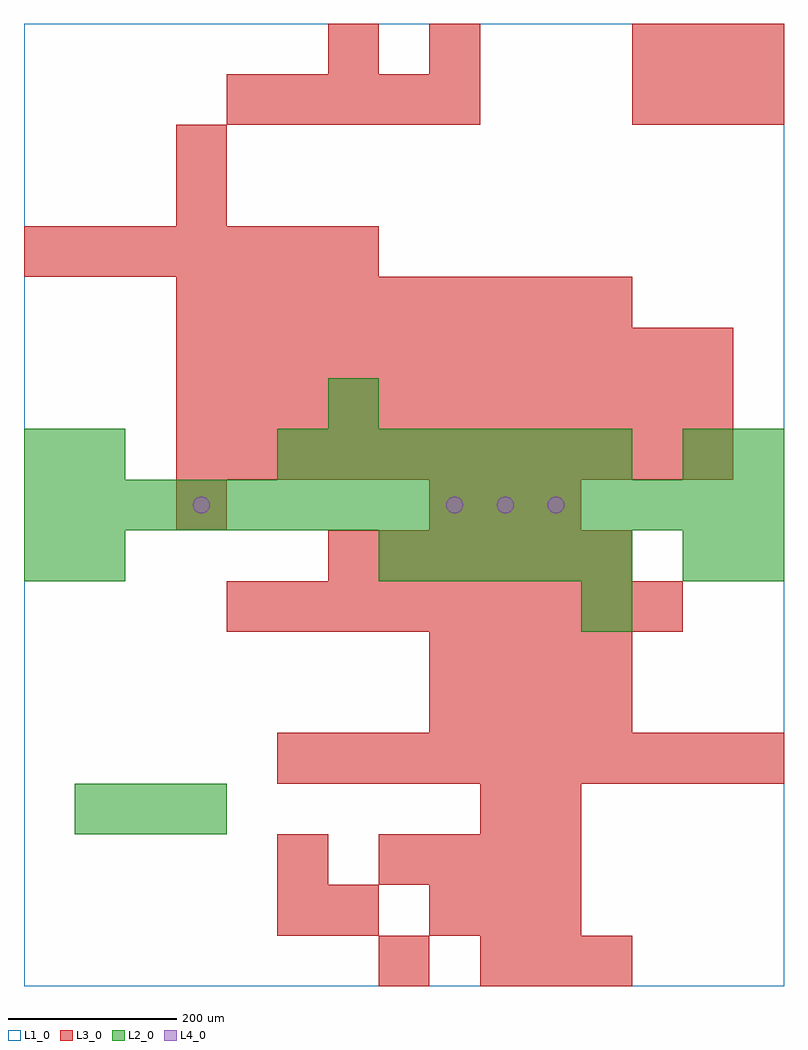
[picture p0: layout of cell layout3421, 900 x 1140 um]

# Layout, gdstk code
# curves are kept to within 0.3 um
import gdstk
lib = gdstk.Library(unit=1e-6, precision=1e-09)
def R(c, l, rs):  # rectangles x0, y0, x1, y1
    for r in rs: c.add(gdstk.rectangle(r[:2], r[2:], *l))
def A(c, l, x, y, w, h, nx, ny, dx, dy):  # array of equal rectangles
    R(c, l, [(x+i*dx, y+j*dy, x+i*dx+w, y+j*dy+h) for i in range(nx) for j in range(ny)])
def P(c, l, *ps):  # polygons
    for p in ps: c.add(gdstk.Polygon(p, *l))
L1_0 = (1, 0)
L2_0 = (2, 0)
L3_0 = (3, 0)
L4_0 = (4, 0)

layout3421 = lib.new_cell('layout3421')
R(layout3421, L1_0, [(0,0,900,1140)])
A(layout3421, L2_0, 60, 180, 60, 60, 3, 1, 60, 0)
A(layout3421, L2_0, 420, 480, 60, 60, 5, 1, 60, 0)
A(layout3421, L2_0, 0, 540, 60, 60, 15, 1, 60, 0)
A(layout3421, L2_0, 300, 600, 60, 60, 7, 1, 60, 0)
R(layout3421, L2_0, [(660,420,720,480), (0,480,60,540), (60,480,120,540), (780,480,840,540), (840,480,900,540), (0,600,60,660), (60,600,120,660), (780,600,840,660), (840,600,900,660), (360,660,420,720)])
A(layout3421, L3_0, 540, 0, 60, 60, 3, 1, 60, 0)
A(layout3421, L3_0, 480, 60, 60, 60, 3, 2, 60, 480)
A(layout3421, L3_0, 420, 120, 60, 60, 4, 1, 60, 0)
A(layout3421, L3_0, 300, 240, 60, 60, 10, 1, 60, 0)
A(layout3421, L3_0, 480, 300, 60, 60, 4, 2, 60, 60)
A(layout3421, L3_0, 240, 420, 60, 60, 9, 1, 60, 0)
A(layout3421, L3_0, 360, 480, 60, 60, 6, 1, 60, 0)
A(layout3421, L3_0, 180, 600, 60, 60, 11, 3, 60, 60)
A(layout3421, L3_0, 180, 780, 60, 60, 9, 1, 60, 0)
A(layout3421, L3_0, 0, 840, 60, 60, 7, 1, 60, 0)
A(layout3421, L3_0, 240, 1020, 60, 60, 5, 1, 60, 0)
A(layout3421, L3_0, 720, 1020, 60, 60, 3, 2, 60, 60)
R(layout3421, L3_0, [(420,0,480,60), (300,60,360,120), (360,60,420,120), (300,120,360,180), (540,180,600,240), (600,180,660,240), (180,540,240,600), (180,900,240,960), (180,960,240,1020), (360,1080,420,1140), (480,1080,540,1140)])
P(layout3421, L4_0, [(220,570),(219.239,573.827),(217.071,577.071),(213.827,579.239),(210,580),(206.173,579.239),(202.929,577.071),(200.761,573.827),(200,570),(200.761,566.173),(202.929,562.929),(206.173,560.761),(210,560),(213.827,560.761),(217.071,562.929),(219.239,566.173)],
  [(520,570),(519.239,573.827),(517.071,577.071),(513.827,579.239),(510,580),(506.173,579.239),(502.929,577.071),(500.761,573.827),(500,570),(500.761,566.173),(502.929,562.929),(506.173,560.761),(510,560),(513.827,560.761),(517.071,562.929),(519.239,566.173)],
  [(580,570),(579.239,573.827),(577.071,577.071),(573.827,579.239),(570,580),(566.173,579.239),(562.929,577.071),(560.761,573.827),(560,570),(560.761,566.173),(562.929,562.929),(566.173,560.761),(570,560),(573.827,560.761),(577.071,562.929),(579.239,566.173)],
  [(640,570),(639.239,573.827),(637.071,577.071),(633.827,579.239),(630,580),(626.173,579.239),(622.929,577.071),(620.761,573.827),(620,570),(620.761,566.173),(622.929,562.929),(626.173,560.761),(630,560),(633.827,560.761),(637.071,562.929),(639.239,566.173)])

lib.write_gds('layout3421.gds')
